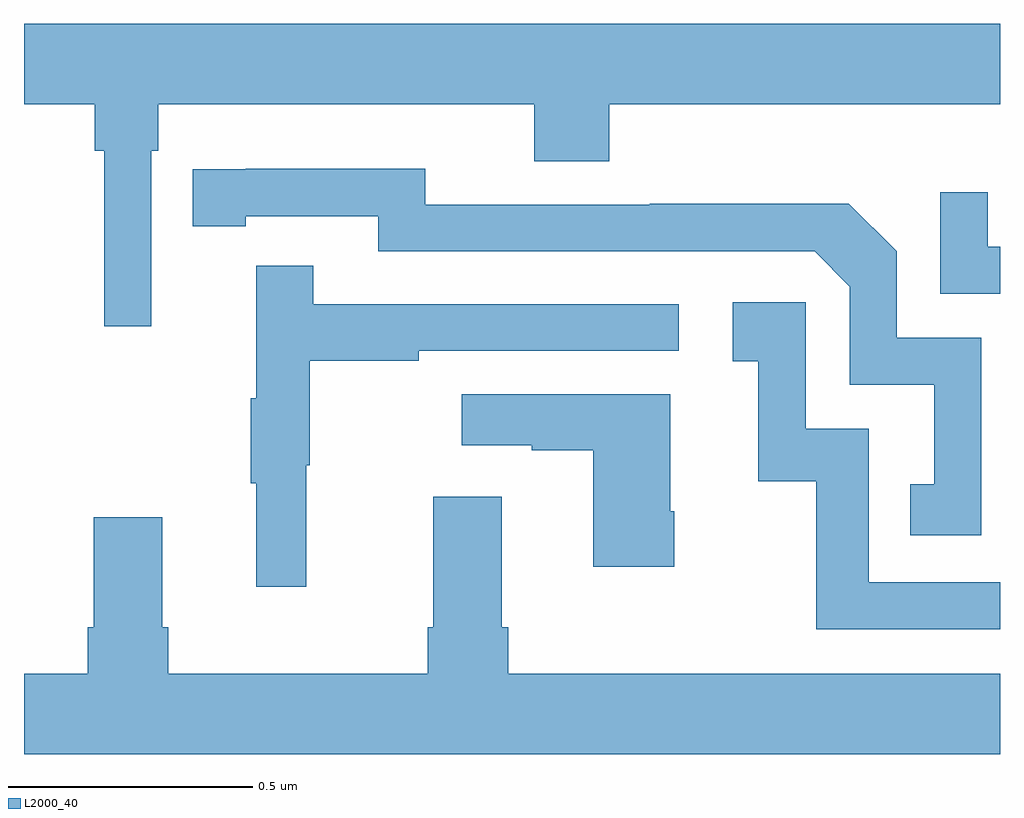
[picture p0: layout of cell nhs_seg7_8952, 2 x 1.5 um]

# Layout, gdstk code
import gdstk
lib = gdstk.Library(unit=1e-6, precision=1e-09)
def P(c, l, *ps):  # polygons
    for p in ps: c.add(gdstk.Polygon(p, *l))
L2000_40 = (2000, 40)

nhs_seg7_8952 = lib.new_cell('nhs_seg7_8952')
P(nhs_seg7_8952, L2000_40, [(231.261,1036.484),(231.275,1036.484),(231.275,1036.58),(232.046,1036.58),(232.046,1036.463),(232.199,1036.463),(232.199,1036.58),(233,1036.58),(233,1036.744),(231,1036.744),(231,1036.58),(231.145,1036.58),(231.145,1036.484),(231.164,1036.484),(231.164,1036.125),(231.261,1036.125)],
  [(232.962,1036.101),(232.788,1036.101),(232.788,1036.278),(232.69,1036.376),(232.282,1036.376),(232.282,1036.374),(231.822,1036.374),(231.822,1036.447),(231.454,1036.447),(231.454,1036.446),(231.346,1036.446),(231.346,1036.33),(231.454,1036.33),(231.454,1036.35),(231.726,1036.35),(231.726,1036.278),(232.62,1036.278),(232.692,1036.206),(232.692,1036.005),(232.865,1036.005),(232.865,1035.801),(232.816,1035.801),(232.816,1035.696),(232.962,1035.696)],
  [(233,1036.287),(232.975,1036.287),(232.975,1036.399),(232.878,1036.399),(232.878,1036.191),(233,1036.191)],
  [(231.578,1035.84),(231.586,1035.84),(231.586,1036.054),(231.809,1036.054),(231.809,1036.074),(232.342,1036.074),(232.342,1036.17),(231.593,1036.17),(231.593,1036.249),(231.476,1036.249),(231.476,1035.977),(231.465,1035.977),(231.465,1035.803),(231.476,1035.803),(231.476,1035.591),(231.578,1035.591)],
  [(233,1035.6),(232.731,1035.6),(232.731,1035.915),(232.602,1035.915),(232.602,1036.174),(232.452,1036.174),(232.452,1036.053),(232.505,1036.053),(232.505,1035.807),(232.623,1035.807),(232.623,1035.504),(233,1035.504)],
  [(232.332,1035.745),(232.324,1035.745),(232.324,1035.985),(231.897,1035.985),(231.897,1035.881),(232.04,1035.881),(232.04,1035.871),(232.166,1035.871),(232.166,1035.632),(232.332,1035.632)],
  [(233,1035.412),(231.992,1035.412),(231.992,1035.508),(231.979,1035.508),(231.979,1035.775),(231.839,1035.775),(231.839,1035.508),(231.827,1035.508),(231.827,1035.412),(231.296,1035.412),(231.296,1035.508),(231.283,1035.508),(231.283,1035.733),(231.143,1035.733),(231.143,1035.508),(231.131,1035.508),(231.131,1035.412),(231,1035.412),(231,1035.248),(233,1035.248)])

lib.write_gds('nhs_seg7_8952.gds')
